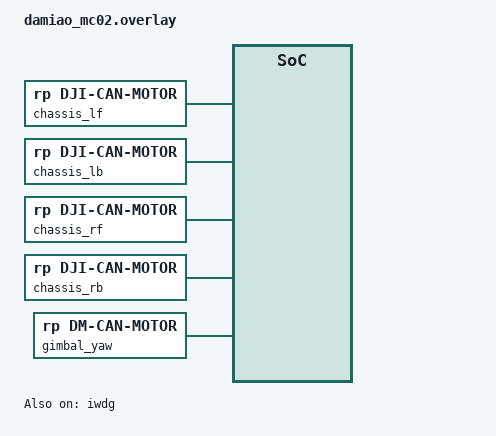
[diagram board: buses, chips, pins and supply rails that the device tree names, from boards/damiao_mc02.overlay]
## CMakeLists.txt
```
cmake_minimum_required(VERSION 3.20)

if(NOT BOARD)
    set(BOARD damiao_mc02)
    message("BOARD not defined, use default value: ${BOARD}")
else()
    message("Use BOARD: ${BOARD}")
endif()

find_package(Zephyr REQUIRED HINTS $ENV{ZEPHYR_BASE})

project(infantry_dog_up)

# 直接添加所有源文件到 app
target_sources(app PRIVATE

    src/main.cpp
    src/TaskLayer/all_task.cpp
    src/TaskLayer/conf_task.cpp
    src/AlgorithmLayer/Algorithm.cpp
    src/AlgorithmLayer/algo_ekf_filter.cpp
    src/AlgorithmLayer/algo_kf_filter.cpp
    src/AlgorithmLayer/ave_filter.c
    src/AlgorithmLayer/crc.c
    src/AlgorithmLayer/rp_math.c
    src/AlgorithmLayer/pid.c
    src/DeviceLayer/bmi_stream.cpp
    src/DeviceLayer/device.cpp
    src/DeviceLayer/device_motor.c
    src/DeviceLayer/RM_motor.c
    src/DeviceLayer/DM_Motor.c
    src/DeviceLayer/KT_motor.c
    src/DeviceLayer/imu_wrapper.cpp
    src/DeviceLayer/iwdg.c
    src/DeviceLayer/rtt.c
    src/ModuleLayer/gimbal.c
    src/ModuleLayer/module.c
)
# 添加头文件路径
target_include_directories(app PRIVATE
    src/AlgorithmLayer/include      # 算法层头文件
    src/DeviceLayer                 # 设备层头文件（如 imu_ekf.hpp）
    src/TaskLayer                   # 任务层头文件（如 conf_task.hpp）
    src/ModuleLayer                 # 模块层头文件（如 Chassis_Posture.h）
    src/ConfigLayer                 # 配置层头文件（如 rp_device_config.h）
    src/ProtocolLayer               # 协议层头文件 (如 board_protocol.h)
)
```

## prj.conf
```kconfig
# 启用传感器驱动
CONFIG_SENSOR=y
CONFIG_BMI08X=y
CONFIG_BMI08X_ACCEL_STREAM=y
CONFIG_BMI08X_GYRO_STREAM=y

# 电机
CONFIG_CAN=y
CONFIG_BLDCM=y
# DJI 电机 CAN 通常为 1Mbps；
CONFIG_CAN_DEFAULT_BITRATE=1000000
CONFIG_CAN_RX_MANAGER=y
CONFIG_CAN_TX_MANAGER=y
CONFIG_CAN_RX_MANAGER_MSGQ_MONITOR=y
# DJI 心跳自动检测（shared system workqueue）
CONFIG_BLDCM_HEARTBEAT_AUTOCHECK=y
CONFIG_BLDCM_HEARTBEAT_POLL_PERIOD_MS=100
# 看门狗
CONFIG_WATCHDOG=y
CONFIG_IWDG_STM32=y
CONFIG_WDT_DISABLE_AT_BOOT=y   # 阻止驱动 init 时自动安装超时，由 IWDG_Init 接管

# 启用日志
CONFIG_LOG=y
# CONFIG_LOG_MODE_IMMEDIATE=y
CONFIG_LOG_MODE_DEFERRED=y
CONFIG_LOG_PROCESS_THREAD_STACK_SIZE=4096
# 启用CMSIS-DSP库
CONFIG_CMSIS_DSP=y
CONFIG_CMSIS_DSP_MATRIX=y 
# # C++ 支持（重要！）
CONFIG_CPP=y
CONFIG_STD_CPP17=y
# 启用浮点支持
CONFIG_FPU=y
CONFIG_FPU_SHARING=y


#  Enable RTT logging backend
CONFIG_CONSOLE=y
CONFIG_LOG_BACKEND_RTT=y
CONFIG_LOG_BACKEND_UART=n
CONFIG_USE_SEGGER_RTT=y
CONFIG_RTT_CONSOLE=y
CONFIG_UART_CONSOLE=n
CONFIG_SEGGER_RTT_MAX_NUM_UP_BUFFERS=5
CONFIG_SEGGER_RTT_MAX_NUM_DOWN_BUFFERS=2
#用于调试的宏 
CONFIG_DEBUG_OPTIMIZATIONS=y
CONFIG_ASSERT=y
# CONFIG_THREAD_ANALYZER=y//下面三行是线程分析器的配置，可以输出线程的内存占用情况
# CONFIG_THREAD_ANALYZER_AUTO=y
# CONFIG_INIT_STACKS=y
# main线程
CONFIG_MAIN_STACK_SIZE=4096
```

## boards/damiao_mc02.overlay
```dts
/* This file will automatic applyed when using damiao_mc02 board */
&bmi08x_accel {
    fifo-watermark = <3>;
};

&bmi08x_gyro {
    fifo-watermark = <3>;
};

/ {
    remote: remote0 {
        status = "okay";
        compatible = "rp,remote";
        uart = <&uart5>;
    };
    aliases {
        remote0 = &remote;
    };

    can_rx_mgr1: can_rx_mgr1 {
        compatible = "rp,can-rx-manager";
        status = "okay";
        can-bus = <&fdcan1>;
        label = "can_rx_mgr1";
    };

    can_tx_mgr1: can_tx_mgr1 {
        compatible = "rp,can-tx-manager";
        status = "okay";
        can-bus = <&fdcan1>;
        label = "can_tx_mgr1";
    };

    can_tx_mgr2: can_tx_mgr2 {
        compatible = "rp,can-tx-manager";
        status = "okay";
        can-bus = <&fdcan2>;
        label = "can_tx_mgr2";
    };

    can_rx_mgr2: can_rx_mgr2 {
        compatible = "rp,can-rx-manager";
        status = "okay";
        can-bus = <&fdcan2>;
        label = "can_rx_mgr2";
    };

    chassis_LF:motor1{
        compatible = "rp,dji-can-motor";
        status = "okay";
        can-bus = <&fdcan1>;
        rx-manager = <&can_rx_mgr1>;
        tx-manager = <&can_tx_mgr1>;
        tx-id = <0x200>;
        rx-id = <0x201>;
        motor-type = "M3508";
        label = "chassis_lf";
        control-mode = "torque";
        Tx-feq = <1000>;
        motor-encoder = <8192>;
        motor-transmission-ratio = <19>;
    };

    chassis_LB:motor2{
        compatible = "rp,dji-can-motor";
        status = "okay";
        can-bus = <&fdcan1>;
        rx-manager = <&can_rx_mgr1>;
        tx-manager = <&can_tx_mgr1>;
        tx-id = <0x200>;
        rx-id = <0x202>;
        motor-type = "M3508";
        label = "chassis_lb";
        control-mode = "torque";
        Tx-feq = <1000>;
        motor-encoder = <8192>;
        motor-transmission-ratio = <19>;
    };

    chassis_RF:motor3{
        compatible = "rp,dji-can-motor";
        status = "okay";
        can-bus = <&fdcan1>;
        rx-manager = <&can_rx_mgr1>;
        tx-manager = <&can_tx_mgr1>;
        tx-id = <0x200>;
        rx-id = <0x203>;
        motor-type = "M3508";
        label = "chassis_rf";
        control-mode = "torque";
        Tx-feq = <1000>;
        motor-encoder = <8192>;
        motor-transmission-ratio = <19>;
    };

    chassis_RB:motor4{
        compatible = "rp,dji-can-motor";
        status = "okay";
        can-bus = <&fdcan1>;
        rx-manager = <&can_rx_mgr1>;
        tx-manager = <&can_tx_mgr1>;
        tx-id = <0x200>;
        rx-id = <0x204>;
        motor-type = "M3508";
        label = "chassis_rb";
        control-mode = "torque";
        Tx-feq = <1000>;
        motor-encoder = <8192>;
        motor-transmission-ratio = <19>;
    };

    gimbal_YAW:motor5{
        compatible = "rp,dm-can-motor";
        status = "okay";
        can-bus = <&fdcan2>;
        rx-manager = <&can_rx_mgr2>;
        tx-manager = <&can_tx_mgr2>;
        tx-id = <0x02>;
        rx-id = <0x12>;
        motor-type = "DM43";
        label = "gimbal_yaw";
        control-mode = "MIT";
        Tx-feq = <1000>;
        motor-encoder = <65535>;
        motor-transmission-ratio = <9>;
        vel-max = <45000>;          // 这里的整数都要除以1000才是实际的上限，必须与上位机的值对应
        tq-max = <54000>;
        pos-max = <3141>;
        mit-params-limit = <500000 0 5000 0>;
    };
};

/ {
    aliases {
        watchdog0 = &iwdg;  /* 将 watchdog0 指向 IWDG 硬件 */
    };
};

&iwdg {
    status = "okay"; /* 启用独立看门狗 IWDG */
};
```

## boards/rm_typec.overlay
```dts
/* This file will automatic applyed when using rm_typec board */
&spi1 {
interrupts = <35 0>;
};

&bmi08x_accel {
    fifo-watermark = <4>;
};

&bmi08x_gyro {
    fifo-watermark = <4>;
};

/ {

    can_rx_mgr1: can_rx_mgr1 {
        compatible = "rp,can-rx-manager";
        status = "okay";
        can-bus = <&can1>;
        label = "can_rx_mgr1";
    };

    can_tx_mgr1: can_tx_mgr1 {
        compatible = "rp,can-tx-manager";
        status = "okay";
        can-bus = <&can1>;
        label = "can_tx_mgr1";
    };
    can_rx_mgr2: can_rx_mgr2 {
            compatible = "rp,can-rx-manager";
            status = "okay";
            can-bus = <&can2>;
            label = "can_rx_mgr2";
        };
    can_tx_mgr2: can_tx_mgr2 {
        compatible = "rp,can-tx-manager";
        status = "okay";
        can-bus = <&can2>;
        label = "can_tx_mgr2";
    };


    gimbal_PITCH:motor5{
        compatible = "rp,dm-can-motor";
        status = "okay";
        can-bus = <&can1>;
        rx-manager = <&can_rx_mgr1>;
        tx-manager = <&can_tx_mgr1>;
        tx-id = <0x01>;
        rx-id = <0x11>;
        motor-type = "DM43";
        label = "gimbal_pitch";
        control-mode = "MIT"; // 这里的整数都要除以1000才是实际的上限，必须与上位机的值对应
        Tx-feq = <1000>;
        motor-encoder = <65535>;
        motor-transmission-ratio = <9>;
        vel-max = <30000>;          // 这里的整数都要除以1000才是实际的上限，必须与上位机的值对应
        tq-max = <10000>;
        pos-max = <3141>;
        mit-params-limit = <500000 0 5000 0>;
    };


    aliases {
        watchdog0 = &iwdg;  /* 将 watchdog0 指向 IWDG 硬件 */
    };
};

&iwdg {
    status = "okay"; /* 启用独立看门狗 IWDG */
};
```

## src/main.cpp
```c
#include "zephyr/kernel.h"
#include "zephyr/logging/log.h"
#include <stdint.h>				// 整型类型
#include <SEGGER_RTT.h>			// RTT
#include "conf_task.hpp"
#include "device.hpp"				// 设备

LOG_MODULE_REGISTER(infantry_up_test, LOG_LEVEL_INF);


int main()
{

	if (Device_Init() != 0)
	{
		LOG_ERR("Device initialization failed, halting system.");
		// 停止系统，避免运行任务，同时输出报错地方
		k_panic(); 
	}
	infantry_down_test::InitProcess();
	while (1)
	{
		k_sleep(K_FOREVER); // 永远挂起，不消耗 CPU
		
	}
}
```
